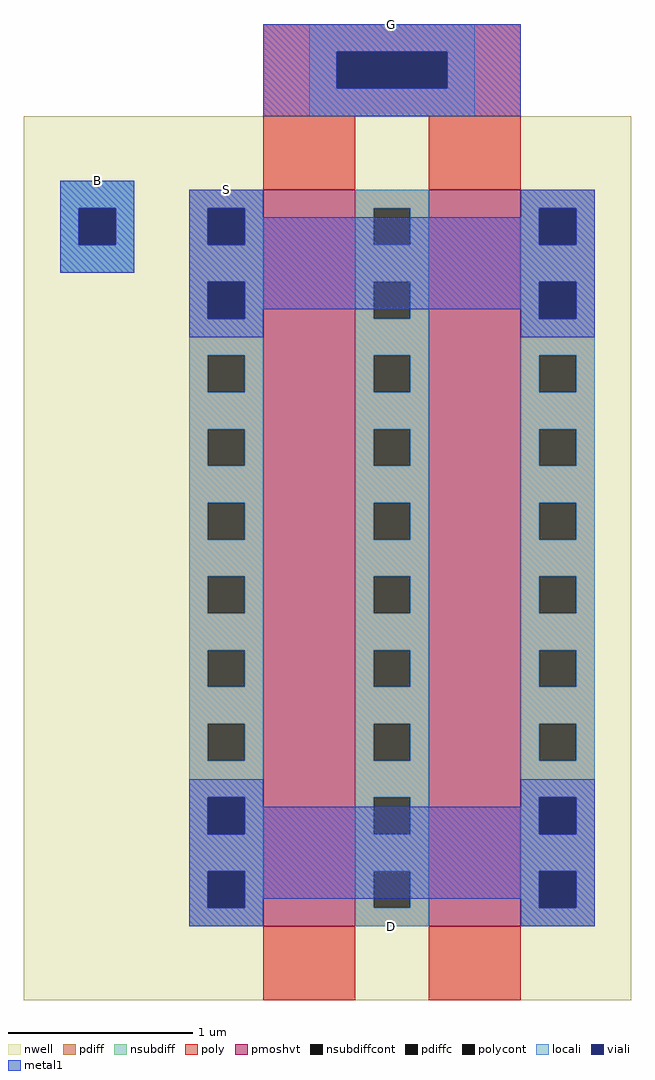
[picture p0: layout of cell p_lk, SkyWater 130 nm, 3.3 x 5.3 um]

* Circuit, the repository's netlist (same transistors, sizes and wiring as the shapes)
* NGSPICE file created from p_lk.ext - technology: sky130A

.subckt p_lk G S D B
X0 D G S B sky130_fd_pr__pfet_01v8_hvt ad=0.8 pd=4.4 as=1.6 ps=8.8 w=4 l=0.5 M=2
.ends

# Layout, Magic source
magic
tech sky130A
<< nwell >>
rect -130 -40 200 440
<< pmoshvt >>
rect 0 0 50 400
rect 90 0 140 400
<< pdiff >>
rect -40 390 0 400
rect -40 370 -30 390
rect -10 370 0 390
rect -40 350 0 370
rect -40 330 -30 350
rect -10 330 0 350
rect -40 310 0 330
rect -40 290 -30 310
rect -10 290 0 310
rect -40 270 0 290
rect -40 250 -30 270
rect -10 250 0 270
rect -40 230 0 250
rect -40 210 -30 230
rect -10 210 0 230
rect -40 190 0 210
rect -40 170 -30 190
rect -10 170 0 190
rect -40 150 0 170
rect -40 130 -30 150
rect -10 130 0 150
rect -40 110 0 130
rect -40 90 -30 110
rect -10 90 0 110
rect -40 70 0 90
rect -40 50 -30 70
rect -10 50 0 70
rect -40 30 0 50
rect -40 10 -30 30
rect -10 10 0 30
rect -40 0 0 10
rect 50 390 90 400
rect 50 370 60 390
rect 80 370 90 390
rect 50 350 90 370
rect 50 330 60 350
rect 80 330 90 350
rect 50 310 90 330
rect 50 290 60 310
rect 80 290 90 310
rect 50 270 90 290
rect 50 250 60 270
rect 80 250 90 270
rect 50 230 90 250
rect 50 210 60 230
rect 80 210 90 230
rect 50 190 90 210
rect 50 170 60 190
rect 80 170 90 190
rect 50 150 90 170
rect 50 130 60 150
rect 80 130 90 150
rect 50 110 90 130
rect 50 90 60 110
rect 80 90 90 110
rect 50 70 90 90
rect 50 50 60 70
rect 80 50 90 70
rect 50 30 90 50
rect 50 10 60 30
rect 80 10 90 30
rect 50 0 90 10
rect 140 390 180 400
rect 140 370 150 390
rect 170 370 180 390
rect 140 350 180 370
rect 140 330 150 350
rect 170 330 180 350
rect 140 310 180 330
rect 140 290 150 310
rect 170 290 180 310
rect 140 270 180 290
rect 140 250 150 270
rect 170 250 180 270
rect 140 230 180 250
rect 140 210 150 230
rect 170 210 180 230
rect 140 190 180 210
rect 140 170 150 190
rect 170 170 180 190
rect 140 150 180 170
rect 140 130 150 150
rect 170 130 180 150
rect 140 110 180 130
rect 140 90 150 110
rect 170 90 180 110
rect 140 70 180 90
rect 140 50 150 70
rect 170 50 180 70
rect 140 30 180 50
rect 140 10 150 30
rect 170 10 180 30
rect 140 0 180 10
<< pdiffc >>
rect -30 370 -10 390
rect -30 330 -10 350
rect -30 290 -10 310
rect -30 250 -10 270
rect -30 210 -10 230
rect -30 170 -10 190
rect -30 130 -10 150
rect -30 90 -10 110
rect -30 50 -10 70
rect -30 10 -10 30
rect 60 370 80 390
rect 60 330 80 350
rect 60 290 80 310
rect 60 250 80 270
rect 60 210 80 230
rect 60 170 80 190
rect 60 130 80 150
rect 60 90 80 110
rect 60 50 80 70
rect 60 10 80 30
rect 150 370 170 390
rect 150 330 170 350
rect 150 290 170 310
rect 150 250 170 270
rect 150 210 170 230
rect 150 170 170 190
rect 150 130 170 150
rect 150 90 170 110
rect 150 50 170 70
rect 150 10 170 30
<< nsubdiff >>
rect -110 390 -70 405
rect -110 370 -100 390
rect -80 370 -70 390
rect -110 355 -70 370
<< nsubdiffcont >>
rect -100 370 -80 390
<< poly >>
rect 0 475 140 490
rect 0 455 40 475
rect 100 455 140 475
rect 0 440 140 455
rect 0 400 50 440
rect 90 400 140 440
rect 0 -40 50 0
rect 90 -40 140 0
<< polycont >>
rect 40 455 100 475
<< locali >>
rect 25 475 115 490
rect 25 455 40 475
rect 100 455 115 475
rect 25 440 115 455
rect -110 390 -70 405
rect -110 370 -100 390
rect -80 370 -70 390
rect -110 355 -70 370
rect -40 390 0 400
rect -40 370 -30 390
rect -10 370 0 390
rect -40 350 0 370
rect -40 330 -30 350
rect -10 330 0 350
rect -40 310 0 330
rect -40 290 -30 310
rect -10 290 0 310
rect -40 270 0 290
rect -40 250 -30 270
rect -10 250 0 270
rect -40 230 0 250
rect -40 210 -30 230
rect -10 210 0 230
rect -40 190 0 210
rect -40 170 -30 190
rect -10 170 0 190
rect -40 150 0 170
rect -40 130 -30 150
rect -10 130 0 150
rect -40 110 0 130
rect -40 90 -30 110
rect -10 90 0 110
rect -40 70 0 90
rect -40 50 -30 70
rect -10 50 0 70
rect -40 30 0 50
rect -40 10 -30 30
rect -10 10 0 30
rect -40 0 0 10
rect 50 390 90 400
rect 50 370 60 390
rect 80 370 90 390
rect 50 350 90 370
rect 50 330 60 350
rect 80 330 90 350
rect 50 310 90 330
rect 50 290 60 310
rect 80 290 90 310
rect 50 270 90 290
rect 50 250 60 270
rect 80 250 90 270
rect 50 230 90 250
rect 50 210 60 230
rect 80 210 90 230
rect 50 190 90 210
rect 50 170 60 190
rect 80 170 90 190
rect 50 150 90 170
rect 50 130 60 150
rect 80 130 90 150
rect 50 110 90 130
rect 50 90 60 110
rect 80 90 90 110
rect 50 70 90 90
rect 50 50 60 70
rect 80 50 90 70
rect 50 30 90 50
rect 50 10 60 30
rect 80 10 90 30
rect 50 0 90 10
rect 140 390 180 400
rect 140 370 150 390
rect 170 370 180 390
rect 140 350 180 370
rect 140 330 150 350
rect 170 330 180 350
rect 140 310 180 330
rect 140 290 150 310
rect 170 290 180 310
rect 140 270 180 290
rect 140 250 150 270
rect 170 250 180 270
rect 140 230 180 250
rect 140 210 150 230
rect 170 210 180 230
rect 140 190 180 210
rect 140 170 150 190
rect 170 170 180 190
rect 140 150 180 170
rect 140 130 150 150
rect 170 130 180 150
rect 140 110 180 130
rect 140 90 150 110
rect 170 90 180 110
rect 140 70 180 90
rect 140 50 150 70
rect 170 50 180 70
rect 140 30 180 50
rect 140 10 150 30
rect 170 10 180 30
rect 140 0 180 10
<< viali >>
rect 40 455 100 475
rect -100 370 -80 390
rect -30 370 -10 390
rect -30 330 -10 350
rect -30 50 -10 70
rect -30 10 -10 30
rect 150 370 170 390
rect 150 330 170 350
rect 150 50 170 70
rect 150 10 170 30
<< metal1 >>
rect 0 475 140 490
rect 0 455 40 475
rect 100 455 140 475
rect 0 440 140 455
rect -110 390 -70 405
rect -110 370 -100 390
rect -80 370 -70 390
rect -110 355 -70 370
rect -40 390 0 400
rect -40 370 -30 390
rect -10 385 0 390
rect 140 390 180 400
rect 140 385 150 390
rect -10 370 150 385
rect 170 370 180 390
rect -40 350 180 370
rect -40 330 -30 350
rect -10 335 150 350
rect -10 330 0 335
rect -40 320 0 330
rect 140 330 150 335
rect 170 330 180 350
rect 140 320 180 330
rect -40 70 0 80
rect -40 50 -30 70
rect -10 65 0 70
rect 140 70 180 80
rect 140 65 150 70
rect -10 50 150 65
rect 170 50 180 70
rect -40 30 180 50
rect -40 10 -30 30
rect -10 15 150 30
rect -10 10 0 15
rect -40 0 0 10
rect 140 10 150 15
rect 170 10 180 30
rect 140 0 180 10
<< labels >>
rlabel metal1 -90 405 -90 405 1 B
port 4 n
rlabel metal1 -20 400 -20 400 1 S
port 2 n
rlabel locali 70 0 70 0 5 D
port 3 s
rlabel metal1 70 490 70 490 1 G
port 1 n
<< end >>
